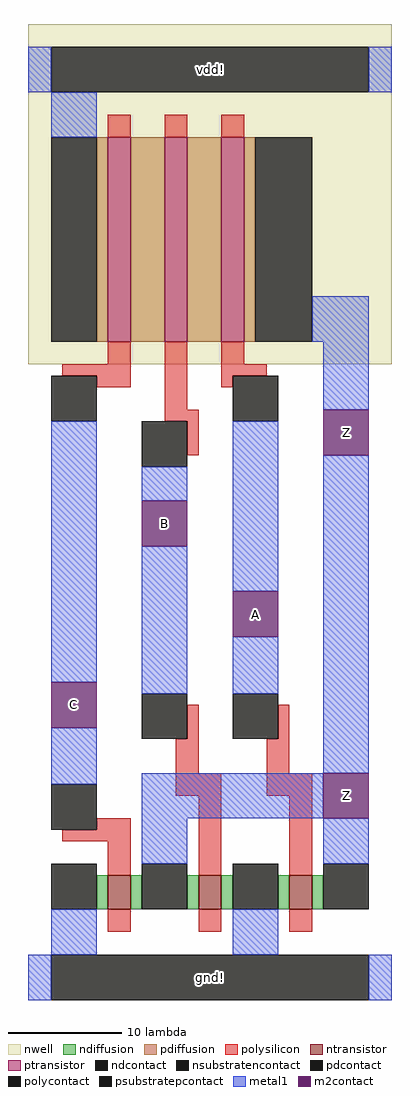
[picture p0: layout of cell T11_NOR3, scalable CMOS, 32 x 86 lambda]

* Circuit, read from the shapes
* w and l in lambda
.subckt T11_NOR3 A B C Z gnd! vdd!
M1 Z C gnd! gnd! nfet w=3 l=2
M2 gnd! B Z gnd! nfet w=3 l=2
M3 Z A gnd! gnd! nfet w=3 l=2
M4 n1 C vdd! vdd! pfet w=18 l=2
M5 n2 B n1 vdd! pfet w=18 l=2
M6 Z A n2 vdd! pfet w=18 l=2
.ends

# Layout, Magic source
magic
tech scmos
<< nwell >>
rect 0 58 32 88
<< polysilicon >>
rect 7 78 9 80
rect 12 78 14 80
rect 17 78 19 80
rect 7 58 9 60
rect 3 57 9 58
rect 6 56 9 57
rect 12 54 14 60
rect 17 58 19 60
rect 17 57 21 58
rect 17 56 18 57
rect 12 53 15 54
rect 14 50 15 53
rect 14 25 15 28
rect 22 25 23 28
rect 13 22 15 25
rect 21 22 23 25
rect 13 20 17 22
rect 21 20 25 22
rect 6 17 9 18
rect 3 16 9 17
rect 7 13 9 16
rect 15 13 17 20
rect 23 13 25 20
rect 7 8 9 10
rect 15 8 17 10
rect 23 8 25 10
<< ndiffusion >>
rect 6 10 7 13
rect 9 10 10 13
rect 14 10 15 13
rect 17 10 18 13
rect 22 10 23 13
rect 25 10 26 13
<< pdiffusion >>
rect 6 60 7 78
rect 9 60 12 78
rect 14 60 17 78
rect 19 60 20 78
<< metal1 >>
rect 0 82 2 86
rect 30 82 32 86
rect 2 78 6 82
rect 25 60 30 64
rect 2 30 6 53
rect 2 21 6 26
rect 10 46 14 49
rect 10 29 14 42
rect 18 38 22 53
rect 18 29 22 34
rect 26 54 30 60
rect 26 22 30 50
rect 10 18 26 22
rect 10 14 14 18
rect 26 14 30 18
rect 2 6 6 10
rect 18 6 22 10
rect 0 2 2 6
rect 30 2 32 6
<< ntransistor >>
rect 7 10 9 13
rect 15 10 17 13
rect 23 10 25 13
<< ptransistor >>
rect 7 60 9 78
rect 12 60 14 78
rect 17 60 19 78
<< polycontact >>
rect 2 53 6 57
rect 18 53 22 57
rect 10 49 14 53
rect 10 25 14 29
rect 18 25 22 29
rect 2 17 6 21
<< ndcontact >>
rect 2 10 6 14
rect 10 10 14 14
rect 18 10 22 14
rect 26 10 30 14
<< pdcontact >>
rect 2 60 6 78
rect 20 60 25 78
<< m2contact >>
rect 2 26 6 30
rect 10 42 14 46
rect 18 34 22 38
rect 26 50 30 54
rect 26 18 30 22
<< psubstratepcontact >>
rect 2 2 30 6
<< nsubstratencontact >>
rect 2 82 30 86
<< labels >>
rlabel psubstratepcontact 2 2 30 6 1 gnd!
rlabel nsubstratencontact 2 82 30 86 5 vdd!
rlabel m2contact 18 34 22 38 1 A
rlabel m2contact 26 50 30 54 1 Z
rlabel m2contact 10 42 14 46 1 B
rlabel m2contact 2 26 6 30 3 C
rlabel m2contact 26 18 30 22 7 Z
<< end >>
